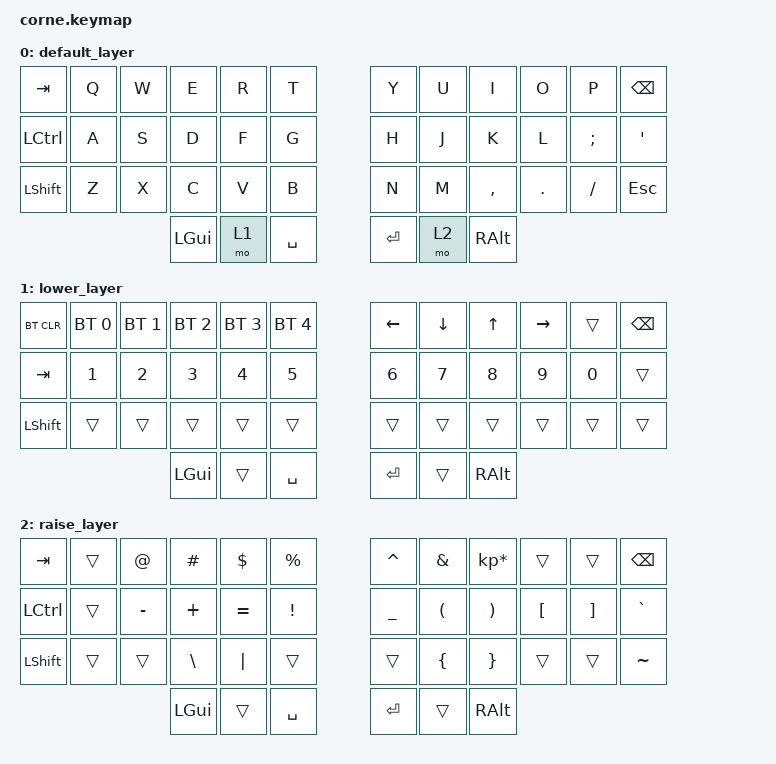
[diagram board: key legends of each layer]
/*
 * Copyright (c) 2020 The ZMK Contributors
 *
 * SPDX-License-Identifier: MIT
 */

#include <behaviors.dtsi>
#include <dt-bindings/zmk/keys.h>
#include <dt-bindings/zmk/bt.h>

/ {
        keymap {
                compatible = "zmk,keymap";

                default_layer {
// -----------------------------------------------------------------------------------------
// |  TAB |  Q  |  W  |  E  |  R  |  T  |   |  Y  |  U   |  I  |  O  |  P  | BKSP |
// | CTRL |  A  |  S  |  D  |  F  |  G  |   |  H  |  J   |  K  |  L  |  ;  |  '   |
// | SHFT |  Z  |  X  |  C  |  V  |  B  |   |  N  |  M   |  ,  |  .  |  /  | ESC  |
//                    | GUI | LWR | SPC |   | ENT | RSE  | ALT |
                        bindings = <
   &kp TAB   &kp Q &kp W &kp E &kp R &kp T   &kp Y &kp U  &kp I     &kp O   &kp P    &kp BSPC
   &kp LCTRL &kp A &kp S &kp D &kp F &kp G   &kp H &kp J  &kp K     &kp L   &kp SEMI &kp SQT
   &kp LSHFT &kp Z &kp X &kp C &kp V &kp B   &kp N &kp M  &kp COMMA &kp DOT &kp FSLH &kp ESC
                  &kp LGUI &mo 1 &kp SPACE   &kp RET &mo 2 &kp RALT
                        >;
                };
                lower_layer {
// -----------------------------------------------------------------------------------------
// | BTCLR| BT1 | BT2 | BT3 | BT4 | BT5 |   | LFT | DWN |  UP | RGT |     | BKSP |
// |  TAB |  1  |  2  |  3  |  4  |  5  |   |  6  |  7  |  8  |  9  |  0  |      |
// | SHFT |     |     |     |     |     |   |     |     |     |     |     |      |
//                    | GUI |     | SPC |   | ENT |     | ALT |
                        bindings = <
   &bt BT_CLR &bt BT_SEL 0 &bt BT_SEL 1 &bt BT_SEL 2 &bt BT_SEL 3 &bt BT_SEL 4   &kp LEFT &kp DOWN &kp UP &kp RIGHT &trans &kp BSPC
   &kp TAB    &kp N1       &kp N2       &kp N3       &kp N4       &kp N5         &kp N6   &kp N7   &kp N8 &kp N9    &kp N0 &trans
   &kp LSHFT  &trans       &trans       &trans       &trans       &trans         &trans   &trans   &trans &trans    &trans &trans
                                    &kp LGUI     &trans       &kp SPACE      &kp RET  &trans   &kp RALT
                        >;
                };

                raise_layer {
// -----------------------------------------------------------------------------------------
// |  TAB |     |  @  |  #  |  $  |  %  |   |  ^  |  &  |  *  |     |     | BKSP |
// | CTRL |     |  -  |  +  |  =  |  !  |   |  _  |  (  |  )  |  [  |  ]  |  `   |
// | SHFT |     |     |  \  |  |  |     |   |     |  {  |  }  |     |     |  ~   |
//                    | GUI |     | SPC |   | ENT |     | ALT |
                        bindings = <
   &kp  TAB  &trans   &kp AT    &kp HASH &kp DLLR  &kp PRCNT   &kp CARET &kp AMPS  &kp KP_MULTIPLY &trans   &trans   &kp BSPC
   &kp LCTRL &trans   &kp MINUS &kp PLUS &kp EQUAL &kp EXCL    &kp UNDER &kp LPAR  &kp RPAR        &kp LBKT &kp RBKT &kp GRAVE
   &kp LSHFT &trans   &trans    &kp BSLH &kp PIPE  &trans      &trans    &kp LBRC  &kp RBRC        &trans &trans   &kp TILDE
                             &kp LGUI &trans    &kp SPACE   &kp RET   &trans    &kp RALT
                        >;
                };
        };
};
